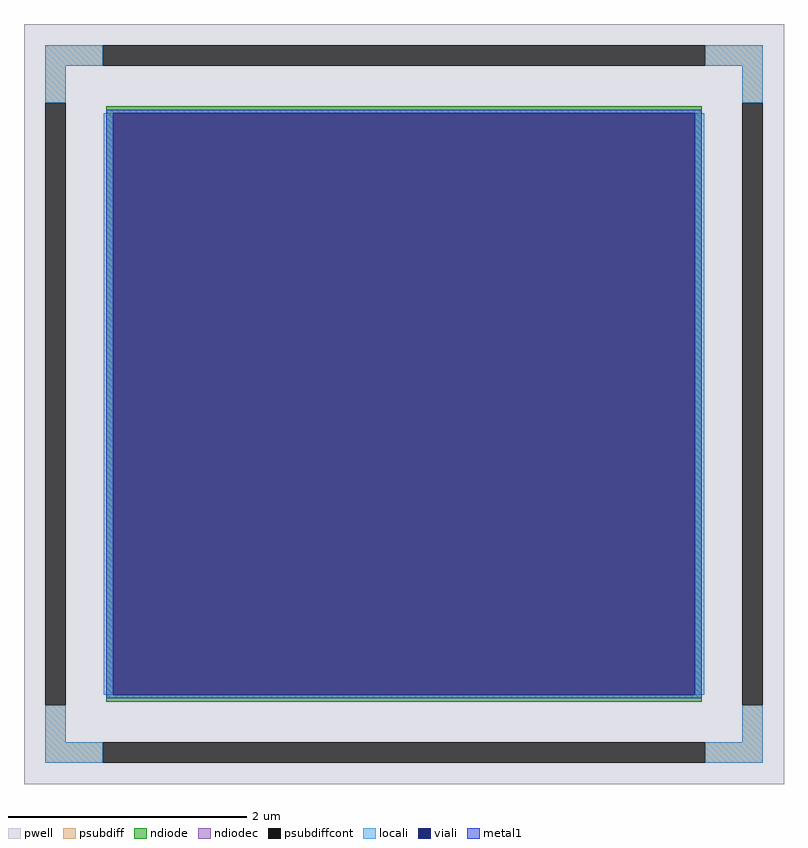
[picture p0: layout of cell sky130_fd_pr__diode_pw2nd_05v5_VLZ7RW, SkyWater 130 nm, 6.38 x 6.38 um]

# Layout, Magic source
magic
tech sky130B
<< pwell >>
rect -319 -319 319 319
<< psubdiff >>
rect -301 284 -253 301
rect 253 284 301 301
rect -301 253 -284 284
rect 284 253 301 284
rect -301 -284 -284 -253
rect 284 -284 301 -253
rect -301 -301 -253 -284
rect 253 -301 301 -284
<< psubdiffcont >>
rect -253 284 253 301
rect -301 -253 -284 253
rect 284 -253 301 253
rect -253 -301 253 -284
<< ndiode >>
rect -250 244 250 250
rect -250 -244 -244 244
rect 244 -244 250 244
rect -250 -250 250 -244
<< ndiodec >>
rect -244 -244 244 244
<< locali >>
rect -301 284 -253 301
rect 253 284 301 301
rect -301 253 -284 284
rect 284 253 301 284
rect -252 -244 -244 244
rect 244 -244 252 244
rect -301 -284 -284 -253
rect 284 -284 301 -253
rect -301 -301 -253 -284
rect 253 -301 301 -284
<< viali >>
rect -244 -244 244 244
<< metal1 >>
rect -250 244 250 247
rect -250 -244 -244 244
rect 244 -244 250 244
rect -250 -247 250 -244
<< properties >>
string FIXED_BBOX -292 -292 292 292
string gencell sky130_fd_pr__diode_pw2nd_05v5
string library sky130
string parameters w 5 l 5 area 25.0 peri 20.0 nx 1 ny 1 dummy 0 lmin 0.45 wmin 0.45 elc 1 erc 1 etc 1 ebc 1 doverlap 0 compatible {sky130_fd_pr__diode_pw2nd_05v5 sky130_fd_pr__diode_pw2nd_05v5_lvt  sky130_fd_pr__diode_pw2nd_05v5_nvt sky130_fd_pr__diode_pw2nd_11v0} full_metal 1 vias 1 viagb 0 viagt 0 viagl 0 viagr 0
<< end >>
